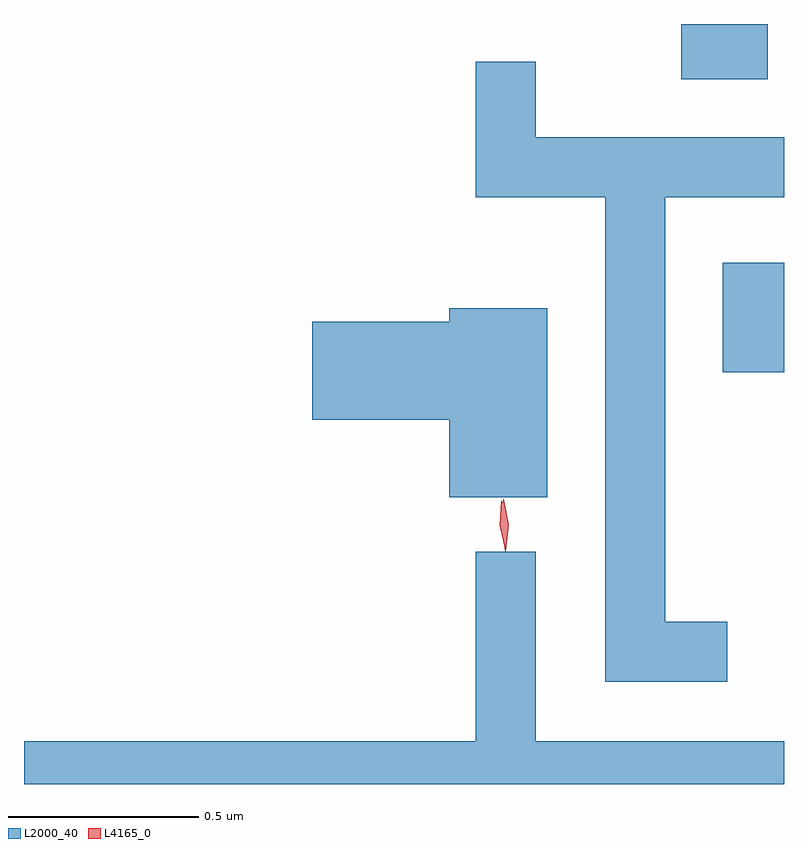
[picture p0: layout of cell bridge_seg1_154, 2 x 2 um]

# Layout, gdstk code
import gdstk
lib = gdstk.Library(unit=1e-6, precision=1e-09)
def R(c, l, rs):  # rectangles x0, y0, x1, y1
    for r in rs: c.add(gdstk.rectangle(r[:2], r[2:], *l))
def P(c, l, *ps):  # polygons
    for p in ps: c.add(gdstk.Polygon(p, *l))
L2000_40 = (2000, 40)
L4165_0 = (4165, 0)

bridge_seg1_154 = lib.new_cell('bridge_seg1_154')
R(bridge_seg1_154, L2000_40, [(911.976,925.236,912.137,925.524), (911.866,926.006,912.094,926.152)])
P(bridge_seg1_154, L2000_40, [(911.988,924.579),(911.824,924.579),(911.824,925.696),(912.137,925.696),(912.137,925.854),(911.484,925.854),(911.484,926.053),(911.326,926.053),(911.326,925.696),(911.666,925.696),(911.666,924.421),(911.988,924.421)],
  [(911.514,925.404),(911.256,925.404),(911.256,925.369),(910.896,925.369),(910.896,925.111),(911.256,925.111),(911.256,924.906),(911.514,924.906)],
  [(912.137,924.264),(911.484,924.264),(911.484,924.763),(911.326,924.763),(911.326,924.264),(910.137,924.264),(910.137,924.152),(912.137,924.152)])
P(bridge_seg1_154, L4165_0, [(911.404,924.765),(911.404,924.765),(911.392,924.833),(911.398,924.902),(911.399,924.902),(911.399,924.902),(911.412,924.834),(911.405,924.765)],
  [(911.404,924.768),(911.404,924.769),(911.389,924.833),(911.393,924.898),(911.394,924.899),(911.394,924.898),(911.409,924.834),(911.405,924.769)])

lib.write_gds('bridge_seg1_154.gds')
